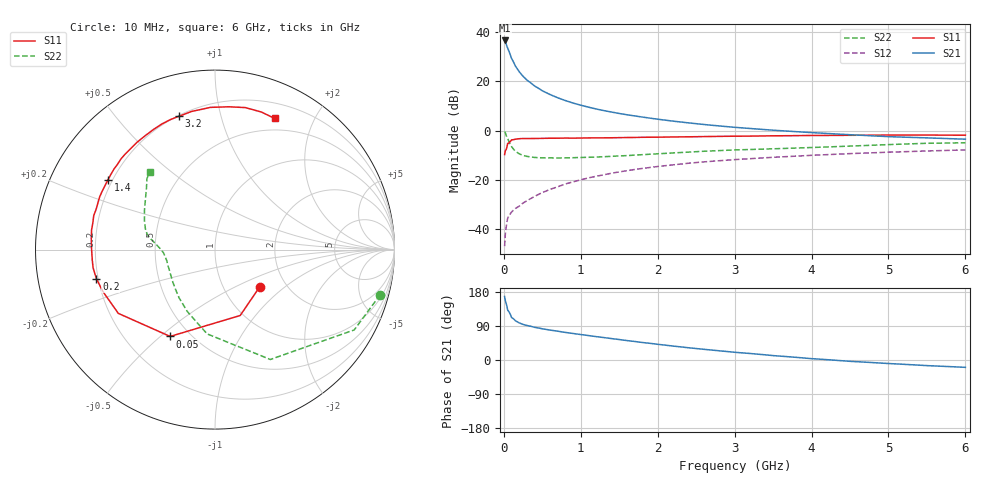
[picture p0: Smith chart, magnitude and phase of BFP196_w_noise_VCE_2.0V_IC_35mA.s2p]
! (c) 2017  Infineon Technologies AG, Munich
! Infineon Technologies  Discrete & RF Semiconductors
! BFP196
! VCE =  2.0 V,  IC =  35 mA
! Common Emitter S-Parameters:  Jan 2017
# GHz  S  MA  R  50
!  f  S11  S21  S12  S22
! GHz  MAG  ANG  MAG  ANG  MAG  ANG  MAG  ANG
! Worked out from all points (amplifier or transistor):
!   77 points, 10 MHz to 6 GHz, reference 50 ohm
!   highest |S21| = 36.7 dB at 10 MHz (marker M1)
!   |S21| within 3 dB of that: start of sweep to 48.19 MHz
!   unconditionally stable (mu >= 1): 608.6 MHz to 2.548 GHz
!   at 130 MHz: K = 0.55, MSG = 30.0 dB, |S12| = -32.3 dB
!   at 2.2 GHz: K = 1.01, MAG = 8.2 dB, |S12| = -14.0 dB
!   at 6 GHz: K = 0.97, MSG = 2.2 dB, |S12| = -7.9 dB
!   lowest NFmin = 1.28 dB at 450 MHz
!   S11 on the Smith chart (normalised r, x): 10 MHz: 1.48, -0.68; 50 MHz: 0.39, -0.54; 200 MHz: 0.19, -0.12; 1.4 GHz: 0.18, +0.29; 3.2 GHz: 0.20, +0.74; 6 GHz: 0.36, +1.49
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0.01  0.3241 -39.4  68.38 167.5  0.0044 79.1  0.9541 -15.3
0.02  0.3931 -69.1  64.93 156.2  0.008 73.9  0.8955 -30.0
0.05  0.5445 -117.3  47.61 131.5  0.0164 53.7  0.6854 -63.3
0.1  0.6453 -146.6  29.5 112.3  0.0218 49.0  0.4718 -95.3
0.15  0.6665 -159.4  20.63 103.6  0.0258 49.1  0.3787 -113.9
0.2  0.6803 -166.2  15.77 97.9  0.0287 52.3  0.3355 -126.5
0.25  0.6867 -171.5  12.72 93.9  0.0334 54.2  0.3109 -135.3
0.3  0.6862 -175.1  10.66 91.1  0.0369 56.8  0.2971 -142.2
0.4  0.6882 179.2  8.07 86.2  0.0454 60.2  0.2829 -151.4
0.5  0.692 174.8  6.463 82.4  0.0544 61.5  0.2776 -157.8
0.6  0.6963 170.9  5.416 79.0  0.0631 62.2  0.2771 -162.4
0.7  0.6967 167.7  4.648 76.0  0.0714 63.4  0.2752 -166.1
0.9  0.6994 161.2  3.624 70.0  0.09 62.7  0.2794 -171.0
1.1  0.7068 155.4  2.992 64.5  0.1083 61.6  0.2847 -174.8
1.4  0.7116 147.0  2.378 56.5  0.1348 58.5  0.2979 -179.3
1.7  0.7218 138.8  1.982 48.9  0.1605 55.0  0.315 177.3
2.1  0.7348 128.4  1.625 39.2  0.1922 49.5  0.3421 173.1
3.1  0.7672 107.0  1.131 18.8  0.2608 36.2  0.4061 162.9
3.2  0.7693 105.2  1.1 17.2  0.2666 34.9  0.4103 161.6
4.1  0.7931 90.3  0.889 2.3  0.3171 24.0  0.4562 149.2
5.1  0.8082 76.6  0.741 -10.3  0.3655 12.4  0.5229 136.8
6  0.803 65.5  0.666 -19.4  0.4026 2.4  0.5629 129.9
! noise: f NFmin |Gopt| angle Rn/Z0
0.45  1.28  0.35  173  0.05
0.9  1.44  0.45  -169  0.07
1.9  2.27  0.68  -134  0.27
2.4  2.68  0.71  -121  0.61
